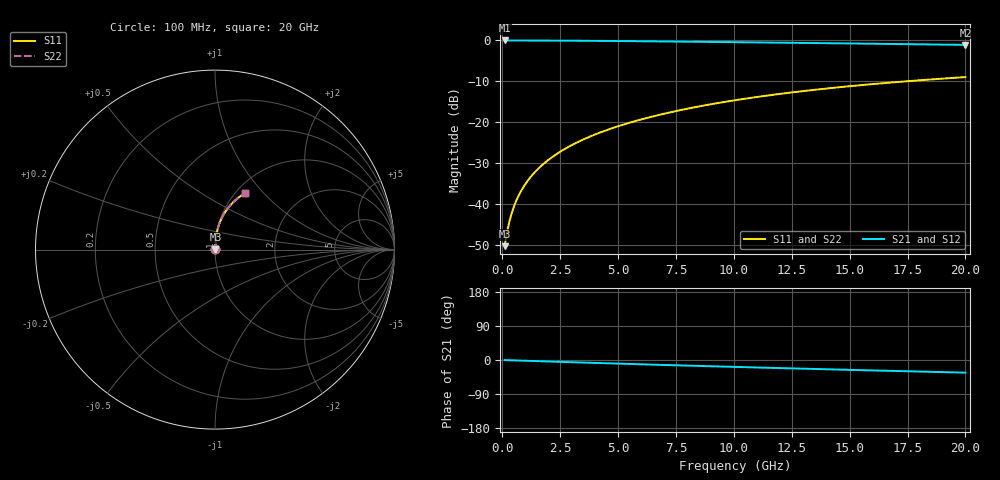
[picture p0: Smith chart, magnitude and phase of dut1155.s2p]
! Touchstone file exported from HFSS 2024.1.0
!  File:  C:/UserFiles/LocalFiles/RDL_TSV_Batchsim/temp_RDL_top_1155_1780048312.aedt
!  Generated:  05:54:07 PM May 29, 2026
!  Design:  RDL_top
!  Project:  temp_RDL_top_1155_1780048312
!  Setup:  Setup1
!  Solution:  Sweep
! Variables:
!  dtsv = 10.80580581um
!  hbump = 3um
!  htsv = 58.34um
!  ldown = 100um
!  lrdl = 422.47um
!  p = 40
!  p1 = 55.89um
!  rhole = 1um
!  t = 450um
!  tdown = 3.915915916um
!  trdl = 3.21um
!  wdown = 15.38538539um
!  wrdl = 20.56um
# GHz S MA R 50.000000
! Terminal data exported
! Port[1] = Box2_T1
! Port[2] = Box2_T2
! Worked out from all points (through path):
!   200 points, 100 MHz to 20 GHz, reference 50 ohm
!   highest |S21| = -0.02 dB at 100 MHz (marker M1); lowest = -1.1 dB at 20 GHz (marker M2)
!   group delay of S21, straight-line fit = 4.6 ps
!   lowest |S11| = -50.2 dB at 100 MHz (marker M3), VSWR 1.01, Z = 50.2 + j0.187 ohm
!   |S11| at or under -10 dB: start of sweep to 17.39 GHz
!   |S22| runs from -50.2 to -9.0 dB; largest |S21 - S12| = 2.7e-15
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0.1  0.003101 37.0  0.9975 -0.2  0.9975 -0.2  0.003101 37.0
! Gamma 0 0 0 0
! Port Impedance 50 0 50 0
0.2  0.004494 55.2  0.9974 -0.4  0.9974 -0.4  0.004494 55.2
0.3  0.006087 64.0  0.9973 -0.6  0.9973 -0.6  0.006088 64.0
0.4  0.007729 69.1  0.9971 -0.8  0.9971 -0.8  0.007729 69.1
0.5  0.009385 72.3  0.997 -1.0  0.997 -1.0  0.009385 72.3
0.6  0.01105 74.7  0.9969 -1.2  0.9969 -1.2  0.01105 74.7
0.8  0.0144 77.8  0.9966 -1.6  0.9966 -1.6  0.0144 77.8
1.1  0.01949 80.6  0.9961 -2.2  0.9961 -2.2  0.01949 80.6
1.5  0.02637 82.6  0.9954 -3.0  0.9954 -3.0  0.02637 82.6
1.8  0.03158 83.5  0.9947 -3.5  0.9947 -3.5  0.03158 83.5
2.1  0.03684 84.1  0.9939 -4.1  0.9939 -4.1  0.03684 84.1
2.7  0.04748 84.7  0.992 -5.3  0.992 -5.3  0.04748 84.7
3.5  0.06193 84.8  0.9889 -6.8  0.9889 -6.8  0.06193 84.8
4.2  0.0748 84.6  0.9858 -8.1  0.9858 -8.1  0.0748 84.6
5  0.08975 84.1  0.9818 -9.6  0.9818 -9.6  0.08975 84.1
5.9  0.1068 83.2  0.9769 -11.2  0.9769 -11.2  0.1068 83.2
6.8  0.124 82.2  0.9716 -12.8  0.9716 -12.8  0.124 82.2
8.4  0.1548 80.0  0.9617 -15.5  0.9617 -15.5  0.1548 80.0
10.1  0.1873 77.4  0.9507 -18.3  0.9507 -18.3  0.1872 77.4
13.4  0.2482 72.1  0.9283 -23.6  0.9283 -23.6  0.2481 72.1
16.7  0.3049 66.9  0.905 -28.6  0.905 -28.6  0.3049 66.9
20  0.3568 61.9  0.8809 -33.4  0.8809 -33.4  0.3567 61.9
